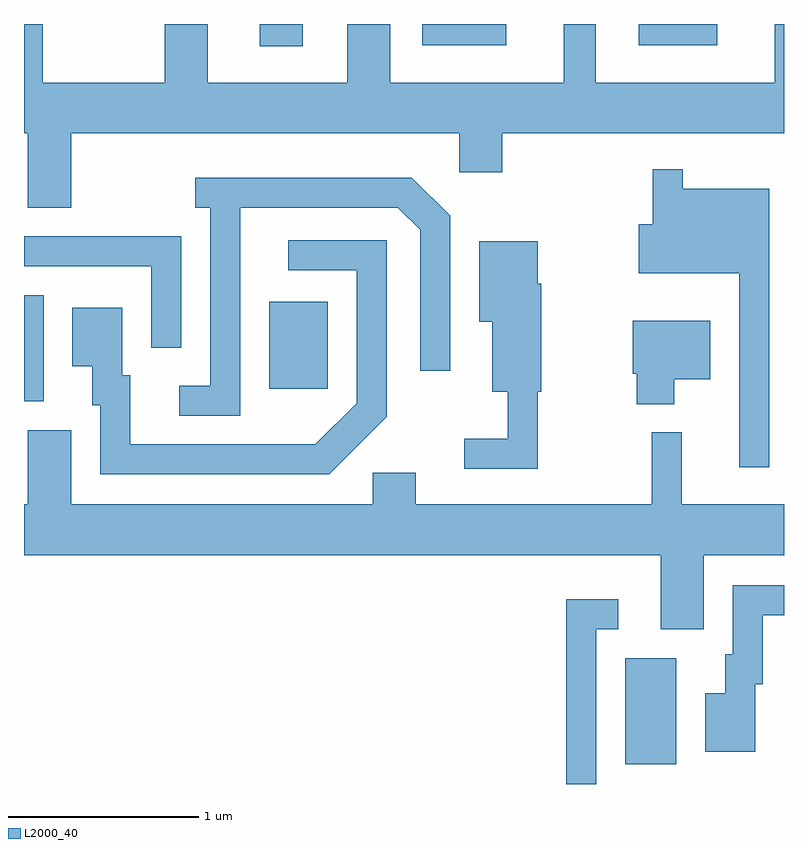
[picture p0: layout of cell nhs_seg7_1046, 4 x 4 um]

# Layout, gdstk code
import gdstk
lib = gdstk.Library(unit=1e-6, precision=1e-09)
def R(c, l, rs):  # rectangles x0, y0, x1, y1
    for r in rs: c.add(gdstk.rectangle(r[:2], r[2:], *l))
def P(c, l, *ps):  # polygons
    for p in ps: c.add(gdstk.Polygon(p, *l))
L2000_40 = (2000, 40)

nhs_seg7_1046 = lib.new_cell('nhs_seg7_1046')
R(nhs_seg7_1046, L2000_40, [(220.776,1684.356,221.044,1684.914), (217.611,1686.266,217.714,1686.824), (218.901,1686.331,219.209,1686.789), (218.851,1688.136,219.079,1688.252), (219.706,1688.141,220.149,1688.252), (220.846,1688.141,221.259,1688.252)])
P(nhs_seg7_1046, L2000_40, [(217.859,1687.676),(219.901,1687.676),(219.901,1687.471),(220.129,1687.471),(220.129,1687.676),(221.611,1687.676),(221.611,1688.252),(221.561,1688.252),(221.561,1687.944),(220.619,1687.944),(220.619,1688.252),(220.451,1688.252),(220.451,1687.944),(219.539,1687.944),(219.539,1688.252),(219.311,1688.252),(219.311,1687.944),(218.579,1687.944),(218.579,1688.252),(218.351,1688.252),(218.351,1687.944),(217.709,1687.944),(217.709,1688.252),(217.611,1688.252),(217.611,1687.676),(217.631,1687.676),(217.631,1687.286),(217.859,1687.286)],
  [(221.534,1687.384),(221.079,1687.384),(221.079,1687.488),(220.921,1687.488),(220.921,1687.199),(220.846,1687.199),(220.846,1686.941),(221.376,1686.941),(221.376,1685.918),(221.534,1685.918)],
  [(218.749,1687.286),(219.579,1687.286),(219.696,1687.169),(219.696,1686.428),(219.854,1686.428),(219.854,1687.242),(219.652,1687.444),(218.513,1687.444),(218.513,1687.286),(218.591,1687.286),(218.591,1686.349),(218.428,1686.349),(218.428,1686.191),(218.749,1686.191)],
  [(218.439,1687.134),(217.611,1687.134),(217.611,1686.976),(218.281,1686.976),(218.281,1686.548),(218.439,1686.548)],
  [(219.519,1686.184),(219.519,1687.114),(219.003,1687.114),(219.003,1686.956),(219.361,1686.956),(219.361,1686.257),(219.144,1686.039),(218.169,1686.039),(218.169,1686.404),(218.129,1686.404),(218.129,1686.759),(217.866,1686.759),(217.866,1686.451),(217.971,1686.451),(217.971,1686.246),(218.011,1686.246),(218.011,1685.881),(219.217,1685.881)],
  [(220.314,1686.316),(220.334,1686.316),(220.334,1686.884),(220.314,1686.884),(220.314,1687.109),(220.006,1687.109),(220.006,1686.686),(220.076,1686.686),(220.076,1686.316),(220.156,1686.316),(220.156,1686.069),(219.928,1686.069),(219.928,1685.911),(220.314,1685.911)],
  [(221.034,1686.381),(221.224,1686.381),(221.224,1686.689),(220.816,1686.689),(220.816,1686.411),(220.836,1686.411),(220.836,1686.251),(221.034,1686.251)],
  [(221.189,1685.456),(221.611,1685.456),(221.611,1685.724),(221.074,1685.724),(221.074,1686.103),(220.916,1686.103),(220.916,1685.724),(219.674,1685.724),(219.674,1685.889),(219.446,1685.889),(219.446,1685.724),(217.859,1685.724),(217.859,1686.114),(217.631,1686.114),(217.631,1685.724),(217.611,1685.724),(217.611,1685.456),(220.961,1685.456),(220.961,1685.066),(221.189,1685.066)],
  [(221.459,1684.776),(221.499,1684.776),(221.499,1685.141),(221.611,1685.141),(221.611,1685.299),(221.341,1685.299),(221.341,1684.934),(221.301,1684.934),(221.301,1684.729),(221.196,1684.729),(221.196,1684.421),(221.459,1684.421)],
  [(220.624,1685.066),(220.738,1685.066),(220.738,1685.224),(220.466,1685.224),(220.466,1684.252),(220.624,1684.252)])

lib.write_gds('nhs_seg7_1046.gds')
